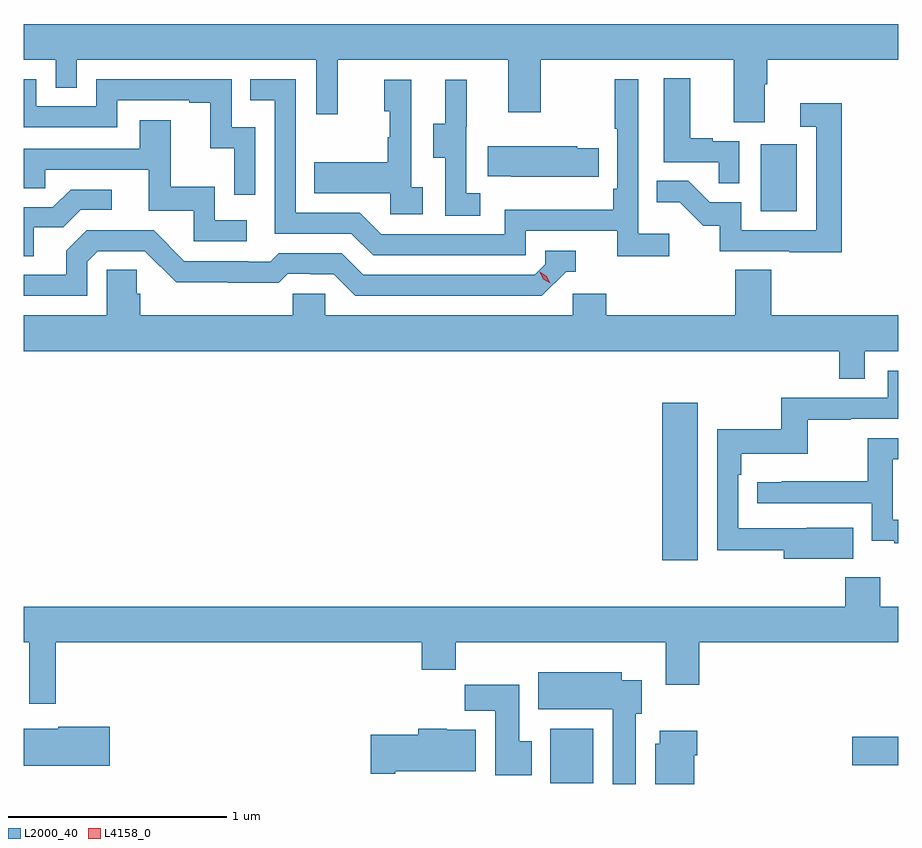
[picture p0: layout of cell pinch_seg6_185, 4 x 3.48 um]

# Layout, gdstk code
import gdstk
lib = gdstk.Library(unit=1e-6, precision=1e-09)
def R(c, l, rs):  # rectangles x0, y0, x1, y1
    for r in rs: c.add(gdstk.rectangle(r[:2], r[2:], *l))
def P(c, l, *ps):  # polygons
    for p in ps: c.add(gdstk.Polygon(p, *l))
L2000_40 = (2000, 40)
L4158_0 = (4158, 0)

pinch_seg6_185 = lib.new_cell('pinch_seg6_185')
R(pinch_seg6_185, L2000_40, [(1057.505,930.708,1057.701,930.958), (1058.886,930.791,1059.097,930.921), (1058.018,931.728,1058.179,932.449), (1058.468,933.324,1058.632,933.631)])
P(pinch_seg6_185, L2000_40, [(1055.097,934.016),(1055.244,934.016),(1055.244,933.889),(1055.34,933.889),(1055.34,934.016),(1056.435,934.016),(1056.435,933.768),(1056.533,933.768),(1056.533,934.016),(1057.313,934.016),(1057.313,933.777),(1057.461,933.777),(1057.461,934.016),(1058.345,934.016),(1058.345,933.73),(1058.485,933.73),(1058.485,933.904),(1058.498,933.904),(1058.498,934.016),(1059.097,934.016),(1059.097,934.18),(1055.097,934.18)],
  [(1058.37,933.645),(1058.249,933.645),(1058.249,933.658),(1058.146,933.658),(1058.146,933.931),(1058.024,933.931),(1058.024,933.549),(1058.275,933.549),(1058.275,933.451),(1058.37,933.451)],
  [(1058.05,933.22),(1057.908,933.22),(1057.908,933.928),(1057.8,933.928),(1057.8,933.7),(1057.812,933.7),(1057.812,933.427),(1057.792,933.427),(1057.792,933.331),(1057.296,933.331),(1057.296,933.219),(1056.732,933.219),(1056.633,933.318),(1056.342,933.318),(1056.342,933.927),(1056.133,933.927),(1056.133,933.831),(1056.246,933.831),(1056.246,933.222),(1056.596,933.222),(1056.695,933.123),(1057.392,933.123),(1057.392,933.234),(1057.811,933.234),(1057.811,933.118),(1058.05,933.118)],
  [(1056.156,933.708),(1056.048,933.708),(1056.048,933.927),(1055.43,933.927),(1055.43,933.804),(1055.154,933.804),(1055.154,933.927),(1055.097,933.927),(1055.097,933.708),(1055.526,933.708),(1055.526,933.831),(1055.855,933.831),(1055.855,933.819),(1055.951,933.819),(1055.951,933.611),(1056.06,933.611),(1056.06,933.399),(1056.156,933.399)],
  [(1057.186,933.407),(1057.122,933.407),(1057.122,933.711),(1057.124,933.711),(1057.124,933.925),(1057.025,933.925),(1057.025,933.723),(1056.971,933.723),(1056.971,933.568),(1057.026,933.568),(1057.026,933.304),(1057.186,933.304)],
  [(1056.922,933.434),(1056.87,933.434),(1056.87,933.925),(1056.746,933.925),(1056.746,933.78),(1056.772,933.78),(1056.772,933.662),(1056.762,933.662),(1056.762,933.547),(1056.427,933.547),(1056.427,933.407),(1056.774,933.407),(1056.774,933.309),(1056.922,933.309)],
  [(1058.837,933.817),(1058.649,933.817),(1058.649,933.711),(1058.721,933.711),(1058.721,933.237),(1058.379,933.237),(1058.379,933.366),(1058.234,933.366),(1058.136,933.464),(1057.993,933.464),(1057.993,933.365),(1058.097,933.365),(1058.204,933.258),(1058.281,933.258),(1058.281,933.141),(1058.599,933.141),(1058.599,933.136),(1058.837,933.136)],
  [(1056.118,933.282),(1055.97,933.282),(1055.97,933.436),(1055.771,933.436),(1055.771,933.739),(1055.627,933.739),(1055.627,933.609),(1055.097,933.609),(1055.097,933.429),(1055.195,933.429),(1055.195,933.513),(1055.669,933.513),(1055.669,933.327),(1055.874,933.327),(1055.874,933.186),(1056.118,933.186)],
  [(1057.727,933.612),(1057.629,933.612),(1057.629,933.622),(1057.219,933.622),(1057.219,933.485),(1057.327,933.485),(1057.327,933.482),(1057.727,933.482)],
  [(1055.143,933.25),(1055.278,933.25),(1055.358,933.33),(1055.5,933.33),(1055.5,933.423),(1055.312,933.423),(1055.231,933.342),(1055.097,933.342),(1055.097,933.118),(1055.143,933.118)],
  [(1055.388,933.093),(1055.436,933.141),(1055.652,933.141),(1055.794,932.999),(1056.03,932.999),(1056.03,932.997),(1056.263,932.997),(1056.305,933.039),(1056.408,933.039),(1056.408,933.036),(1056.515,933.036),(1056.614,932.937),(1057.467,932.937),(1057.578,933.048),(1057.621,933.048),(1057.621,933.144),(1057.482,933.144),(1057.482,933.081),(1057.434,933.033),(1056.651,933.033),(1056.552,933.132),(1056.263,933.132),(1056.224,933.093),(1056.125,933.093),(1056.125,933.096),(1055.832,933.096),(1055.691,933.237),(1055.385,933.237),(1055.291,933.143),(1055.291,933.033),(1055.097,933.033),(1055.097,932.937),(1055.388,932.937)],
  [(1058.827,932.557),(1058.943,932.557),(1058.943,932.684),(1059.097,932.684),(1059.097,932.848),(1058.516,932.848),(1058.516,933.056),(1058.351,933.056),(1058.351,932.848),(1057.76,932.848),(1057.76,932.946),(1057.608,932.946),(1057.608,932.848),(1056.477,932.848),(1056.477,932.946),(1056.327,932.946),(1056.327,932.848),(1055.63,932.848),(1055.63,932.946),(1055.615,932.946),(1055.615,933.056),(1055.478,933.056),(1055.478,932.848),(1055.097,932.848),(1055.097,932.684),(1058.827,932.684)],
  [(1058.891,931.876),(1058.677,931.876),(1058.677,931.875),(1058.364,931.875),(1058.364,932.12),(1058.378,932.12),(1058.378,932.216),(1058.683,932.216),(1058.683,932.371),(1058.879,932.371),(1058.879,932.376),(1059.097,932.376),(1059.097,932.595),(1059.048,932.595),(1059.048,932.472),(1058.562,932.472),(1058.562,932.326),(1058.268,932.326),(1058.268,931.774),(1058.573,931.774),(1058.573,931.736),(1058.891,931.736)],
  [(1059.097,931.914),(1059.072,931.914),(1059.072,932.19),(1059.097,932.19),(1059.097,932.286),(1058.956,932.286),(1058.956,932.09),(1058.563,932.09),(1058.563,932.085),(1058.451,932.085),(1058.451,931.989),(1058.976,931.989),(1058.976,931.817),(1059.079,931.817),(1059.079,931.806),(1059.097,931.806)],
  [(1055.245,931.352),(1056.917,931.352),(1056.917,931.228),(1057.073,931.228),(1057.073,931.352),(1058.033,931.352),(1058.033,931.158),(1058.186,931.158),(1058.186,931.352),(1059.097,931.352),(1059.097,931.516),(1059.015,931.516),(1059.015,931.651),(1058.855,931.651),(1058.855,931.516),(1055.097,931.516),(1055.097,931.352),(1055.123,931.352),(1055.123,931.071),(1055.245,931.071)],
  [(1057.897,931.026),(1057.924,931.026),(1057.924,931.18),(1057.831,931.18),(1057.831,931.216),(1057.451,931.216),(1057.451,931.046),(1057.79,931.046),(1057.79,930.705),(1057.897,930.705)],
  [(1057.42,930.9),(1057.363,930.9),(1057.363,931.158),(1057.114,931.158),(1057.114,931.04),(1057.253,931.04),(1057.253,930.744),(1057.42,930.744)],
  [(1055.491,930.966),(1055.256,930.966),(1055.256,930.958),(1055.097,930.958),(1055.097,930.788),(1055.491,930.788)],
  [(1056.796,930.764),(1057.165,930.764),(1057.165,930.952),(1057.032,930.952),(1057.032,930.958),(1056.902,930.958),(1056.902,930.93),(1056.684,930.93),(1056.684,930.752),(1056.796,930.752)],
  [(1058.164,930.836),(1058.177,930.836),(1058.177,930.949),(1058.006,930.949),(1058.006,930.888),(1057.985,930.888),(1057.985,930.705),(1058.164,930.705)])
P(pinch_seg6_185, L4158_0, [(1057.504,932.994),(1057.474,933.014),(1057.458,933.046),(1057.458,933.047),(1057.458,933.047),(1057.489,933.027),(1057.505,932.995),(1057.505,932.994)])

lib.write_gds('pinch_seg6_185.gds')
